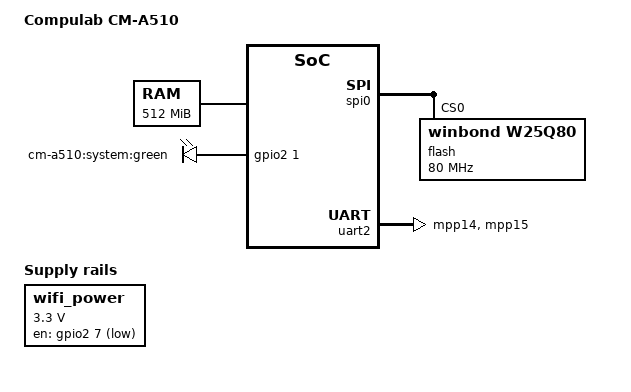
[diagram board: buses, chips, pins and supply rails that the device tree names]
/*
 * Device Tree include for Compulab CM-A510 System-on-Module
 *
 * Copyright (C) 2015, Sebastian Hesselbarth <sebastian.hesselbarth@gmail.com>
 *
 * This file is dual-licensed: you can use it either under the terms
 * of the GPL or the X11 license, at your option. Note that this dual
 * licensing only applies to this file, and not this project as a
 * whole.
 *
 *  a) This file is free software; you can redistribute it and/or
 *     modify it under the terms of the GNU General Public License as
 *     published by the Free Software Foundation; version 2 of the
 *     License.
 *
 *     This file is distributed in the hope that it will be useful,
 *     but WITHOUT ANY WARRANTY; without even the implied warranty of
 *     MERCHANTABILITY or FITNESS FOR A PARTICULAR PURPOSE.  See the
 *     GNU General Public License for more details.
 *
 * Or, alternatively,
 *
 *  b) Permission is hereby granted, free of charge, to any person
 *     obtaining a copy of this software and associated documentation
 *     files (the "Software"), to deal in the Software without
 *     restriction, including without limitation the rights to use,
 *     copy, modify, merge, publish, distribute, sublicense, and/or
 *     sell copies of the Software, and to permit persons to whom the
 *     Software is furnished to do so, subject to the following
 *     conditions:
 *
 *     The above copyright notice and this permission notice shall be
 *     included in all copies or substantial portions of the Software.
 *
 *     THE SOFTWARE IS PROVIDED "AS IS", WITHOUT WARRANTY OF ANY KIND,
 *     EXPRESS OR IMPLIED, INCLUDING BUT NOT LIMITED TO THE WARRANTIES
 *     OF MERCHANTABILITY, FITNESS FOR A PARTICULAR PURPOSE AND
 *     NONINFRINGEMENT. IN NO EVENT SHALL THE AUTHORS OR COPYRIGHT
 *     HOLDERS BE LIABLE FOR ANY CLAIM, DAMAGES OR OTHER LIABILITY,
 *     WHETHER IN AN ACTION OF CONTRACT, TORT OR OTHERWISE, ARISING
 *     FROM, OUT OF OR IN CONNECTION WITH THE SOFTWARE OR THE USE OR
 *     OTHER DEALINGS IN THE SOFTWARE.
 */

/*
 * The CM-A510 comes with several optional components:
 *
 * Memory options:
 *  D512: 512M
 *  D1024: 1G
 *
 * NAND options:
 *  N512: 512M NAND
 *
 * Ethernet options:
 *  E1: PHY RTL8211D on internal GbE (SMI address 0x03)
 *  E2: Additional ethernet NIC RTL8111D on PCIe1
 *
 * Audio options:
 *  A: TI TLV320AIC23b audio codec (I2C address 0x1a)
 *
 * Touchscreen options:
 *  I: TI TSC2046 touchscreen controller (on SPI1)
 *
 * USB options:
 *  U2: 2 dual-role USB2.0 ports
 *  U4: 2 additional USB2.0 host ports (via USB1)
 *
 * WiFi options:
 *  W: Broadcom BCM4319 802.11b/g/n (USI WM-N-BM-01 on SDIO1)
 *
 * GPIOs used on CM-A510:
 *   1 GbE PHY reset (active low)
 *   3 WakeUp
 *   8 PowerOff (active low)
 *  13 Touchscreen pen irq (active low)
 *  65 System LED (active high)
 *  69 USB Hub reset (active low)
 *  70 WLAN reset (active low)
 *  71 WLAN regulator (active high)
 */

#include "dove.dtsi"

/ {
	model = "Compulab CM-A510";
	compatible = "compulab,cm-a510", "marvell,dove";

	/*
	 * Set the minimum memory size here and let the
	 * bootloader set the real size.
	 */
	memory {
		device_type = "memory";
		reg = <0x00000000 0x20000000>;
	};

	leds {
		compatible = "gpio-leds";
		/* Set upper NAND data bit to GPO */
		pinctrl-0 = <&pmx_nand_gpo>;
		pinctrl-names = "default";

		system {
			label = "cm-a510:system:green";
			gpios = <&gpio2 1 GPIO_ACTIVE_HIGH>;
			default-state = "keep";
		};
	};

	regulators {
		compatible = "simple-bus";
		#address-cells = <1>;
		#size-cells = <0>;

		wifi_power: regulator@1 {
			compatible = "regulator-fixed";
			regulator-name = "WiFi Power";
			regulator-min-microvolt = <3300000>;
			regulator-max-microvolt = <3300000>;
			gpio = <&gpio2 7 GPIO_ACTIVE_HIGH>;
		};
	};
};

/* Optional RTL8211D GbE PHY on SMI address 0x03 */
&ethphy {
	reg = <3>;
	status = "disabled";
};

&i2c0 {
	/* Optional TI TLV320AIC23b audio codec */
	opt_audio: audio@1a {
		compatible = "ti,tlv320aic23";
		reg = <0x1a>;
		status = "disabled";
	};
};

/* Optional RTL8111D GbE NIC on PCIe1 */
&pcie { status = "disabled"; };

&pcie1 {
	pinctrl-0 = <&pmx_pcie1_clkreq>;
	pinctrl-names = "default";
	status = "disabled";
};

&pinctrl {
	pmx_uart2: pmx-uart2 {
		marvell,pins = "mpp14", "mpp15";
		marvell,function = "uart2";
	};
};

/* Optional Broadcom BCM4319 802.11b/g/n WiFi module */
&sdio1 {
	non-removable;
	vmmc-supply = <&wifi_power>;
	reset-gpio = <&gpio2 6 GPIO_ACTIVE_LOW>;
	status = "disabled";
};

&spi0 {
	status = "okay";

	/* 1M Flash Winbond W25Q80BL */
	flash@0 {
		compatible = "winbond,w25q80";
		spi-max-frequency = <80000000>;
		reg = <0>;
	};
};

&spi1 {
	pinctrl-0 = <&pmx_spi1_20_23>;
	pinctrl-names = "default";
	status = "disabled";

	/* Optional TI TSC2046 touchscreen controller */
	opt_touch: touchscreen@0 {
		compatible = "ti,tsc2046";
		spi-max-frequency = <2500000>;
		reg = <0>;
		pinctrl-0 = <&pmx_gpio_13>;
		pinctrl-names = "default";
		interrupts-extended = <&gpio0 13 IRQ_TYPE_EDGE_FALLING>;
	};
};

&uart2 {
	pinctrl-0 = <&pmx_uart2>;
	pinctrl-names = "default";
};
